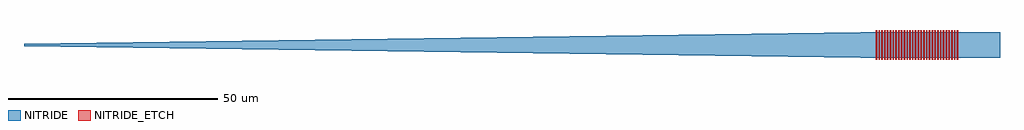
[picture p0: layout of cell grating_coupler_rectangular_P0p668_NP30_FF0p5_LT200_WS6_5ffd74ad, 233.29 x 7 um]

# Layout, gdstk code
import gdstk
lib = gdstk.Library(unit=1e-6, precision=1e-09)
def R(c, l, rs):  # rectangles x0, y0, x1, y1
    for r in rs: c.add(gdstk.rectangle(r[:2], r[2:], *l))
def A(c, l, x, y, w, h, nx, ny, dx, dy):  # array of equal rectangles
    R(c, l, [(x+i*dx, y+j*dy, x+i*dx+w, y+j*dy+h) for i in range(nx) for j in range(ny)])
def P(c, l, *ps):  # polygons
    for p in ps: c.add(gdstk.Polygon(p, *l))
NITRIDE = (203, 0)
NITRIDE_ETCH = (204, 0)

grating_coupler_rectangu = lib.new_cell('grating_coupler_rectangular_P0p668_NP30_FF0p5_LT200_WS6_5ffd74ad')
P(grating_coupler_rectangu, NITRIDE, [(200,-3),(0,-0.25),(0,0.25),(200,3),(233.288,3),(233.288,-3)])
A(grating_coupler_rectangu, NITRIDE_ETCH, 203.594, -3.5, 0.334, 7, 30, 1, 0.668, 0)

lib.write_gds('grating_coupler_rectangular_P0p668_NP30_FF0p5_LT200_WS6_5ffd74ad.gds')
